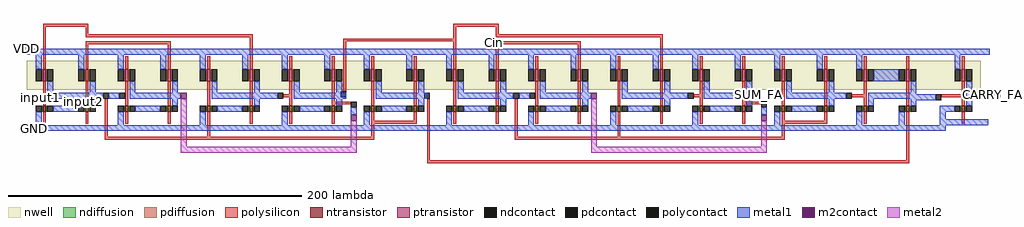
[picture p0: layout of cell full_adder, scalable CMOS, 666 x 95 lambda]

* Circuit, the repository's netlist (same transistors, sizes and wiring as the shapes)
.include 22nm_MGK.pm
.param SUPPLY = 1

vDD VDD GND 'SUPPLY'

va input1 0 pulse 0 SUPPLY 0ns 100ps 100ps 5ns 20ns

vb input2 0 pulse 0 SUPPLY 0ns 100ps 100ps 10ns 20ns

vc Cin 0 pulse 0 SUPPLY 0ns 100ps 100ps 15ns 20ns

.option scale = 0.01u

M1000 CARRY_FA or_0/inverter_0/input VDD w_556_43# pmos w=8 l=2
+  ad=40 pd=26 as=880 ps=572
M1001 CARRY_FA or_0/inverter_0/input GND Gnd nmos w=4 l=2
+  ad=20 pd=18 as=260 ps=234
M1002 or_0/inverter_0/input or_0/input2 or_0/a_3_n6# w_556_43# pmos w=8 l=2
+  ad=40 pd=26 as=80 ps=52
M1003 or_0/a_3_n6# or_0/input1 VDD w_556_43# pmos w=8 l=2
+  ad=0 pd=0 as=0 ps=0
M1004 or_0/inverter_0/input or_0/input2 GND Gnd nmos w=4 l=2
+  ad=40 pd=36 as=0 ps=0
M1005 or_0/inverter_0/input or_0/input1 GND Gnd nmos w=4 l=2
+  ad=0 pd=0 as=0 ps=0
M1006 half_adder_0/nand_0/out input1 VDD w_556_43# pmos w=8 l=2
+  ad=80 pd=52 as=0 ps=0
M1007 half_adder_0/nand_0/out half_adder_0/nand_2/input2 VDD w_556_43# pmos w=8 l=2
+  ad=0 pd=0 as=0 ps=0
M1008 half_adder_0/nand_0/out input1 half_adder_0/nand_0/a_3_n27# Gnd nmos w=4 l=2
+  ad=20 pd=18 as=40 ps=36
M1009 half_adder_0/nand_0/a_3_n27# half_adder_0/nand_2/input2 GND Gnd nmos w=4 l=2
+  ad=0 pd=0 as=0 ps=0
M1010 half_adder_1/input1 half_adder_0/nand_1/input2 VDD w_556_43# pmos w=8 l=2
+  ad=80 pd=52 as=0 ps=0
M1011 half_adder_1/input1 half_adder_0/nand_0/out VDD w_556_43# pmos w=8 l=2
+  ad=0 pd=0 as=0 ps=0
M1012 half_adder_1/input1 half_adder_0/nand_1/input2 half_adder_0/nand_1/a_3_n27# Gnd nmos w=4 l=2
+  ad=20 pd=18 as=40 ps=36
M1013 half_adder_0/nand_1/a_3_n27# half_adder_0/nand_0/out GND Gnd nmos w=4 l=2
+  ad=0 pd=0 as=0 ps=0
M1014 or_0/input2 half_adder_0/nand_2/input2 VDD w_556_43# pmos w=8 l=2
+  ad=80 pd=52 as=0 ps=0
M1015 or_0/input2 half_adder_0/nand_2/input2 VDD w_556_43# pmos w=8 l=2
+  ad=0 pd=0 as=0 ps=0
M1016 or_0/input2 half_adder_0/nand_2/input2 half_adder_0/nand_2/a_3_n27# Gnd nmos w=4 l=2
+  ad=20 pd=18 as=40 ps=36
M1017 half_adder_0/nand_2/a_3_n27# half_adder_0/nand_2/input2 GND Gnd nmos w=4 l=2
+  ad=0 pd=0 as=0 ps=0
M1018 half_adder_0/nand_2/input2 input2 VDD w_556_43# pmos w=8 l=2
+  ad=80 pd=52 as=0 ps=0
M1019 half_adder_0/a_59_n27# half_adder_0/nand_2/input2 GND Gnd nmos w=4 l=2
+  ad=40 pd=36 as=0 ps=0
M1020 half_adder_0/nand_2/input2 input1 VDD w_556_43# pmos w=8 l=2
+  ad=0 pd=0 as=0 ps=0
M1021 half_adder_0/nand_1/input2 input2 half_adder_0/a_59_n27# Gnd nmos w=4 l=2
+  ad=20 pd=18 as=0 ps=0
M1022 half_adder_0/nand_2/input2 input2 half_adder_0/a_3_n27# Gnd nmos w=4 l=2
+  ad=20 pd=18 as=40 ps=36
M1023 half_adder_0/a_3_n27# input1 GND Gnd nmos w=4 l=2
+  ad=0 pd=0 as=0 ps=0
M1024 half_adder_0/nand_1/input2 half_adder_0/nand_2/input2 VDD w_556_43# pmos w=8 l=2
+  ad=80 pd=52 as=0 ps=0
M1025 half_adder_0/nand_1/input2 input2 VDD w_556_43# pmos w=8 l=2
+  ad=0 pd=0 as=0 ps=0
M1026 half_adder_1/nand_0/out half_adder_1/input1 VDD w_556_43# pmos w=8 l=2
+  ad=80 pd=52 as=0 ps=0
M1027 half_adder_1/nand_0/out half_adder_1/nand_2/input2 VDD w_556_43# pmos w=8 l=2
+  ad=0 pd=0 as=0 ps=0
M1028 half_adder_1/nand_0/out half_adder_1/input1 half_adder_1/nand_0/a_3_n27# Gnd nmos w=4 l=2
+  ad=20 pd=18 as=40 ps=36
M1029 half_adder_1/nand_0/a_3_n27# half_adder_1/nand_2/input2 GND Gnd nmos w=4 l=2
+  ad=0 pd=0 as=0 ps=0
M1030 SUM_FA half_adder_1/nand_1/input2 VDD w_556_43# pmos w=8 l=2
+  ad=80 pd=52 as=0 ps=0
M1031 SUM_FA half_adder_1/nand_0/out VDD w_556_43# pmos w=8 l=2
+  ad=0 pd=0 as=0 ps=0
M1032 SUM_FA half_adder_1/nand_1/input2 half_adder_1/nand_1/a_3_n27# Gnd nmos w=4 l=2
+  ad=20 pd=18 as=40 ps=36
M1033 half_adder_1/nand_1/a_3_n27# half_adder_1/nand_0/out GND Gnd nmos w=4 l=2
+  ad=0 pd=0 as=0 ps=0
M1034 or_0/input1 half_adder_1/nand_2/input2 VDD w_556_43# pmos w=8 l=2
+  ad=80 pd=52 as=0 ps=0
M1035 or_0/input1 half_adder_1/nand_2/input2 VDD w_556_43# pmos w=8 l=2
+  ad=0 pd=0 as=0 ps=0
M1036 or_0/input1 half_adder_1/nand_2/input2 half_adder_1/nand_2/a_3_n27# Gnd nmos w=4 l=2
+  ad=20 pd=18 as=40 ps=36
M1037 half_adder_1/nand_2/a_3_n27# half_adder_1/nand_2/input2 GND Gnd nmos w=4 l=2
+  ad=0 pd=0 as=0 ps=0
M1038 half_adder_1/nand_2/input2 Cin VDD w_556_43# pmos w=8 l=2
+  ad=80 pd=52 as=0 ps=0
M1039 half_adder_1/a_59_n27# half_adder_1/nand_2/input2 GND Gnd nmos w=4 l=2
+  ad=40 pd=36 as=0 ps=0
M1040 half_adder_1/nand_2/input2 half_adder_1/input1 VDD w_556_43# pmos w=8 l=2
+  ad=0 pd=0 as=0 ps=0
M1041 half_adder_1/nand_1/input2 Cin half_adder_1/a_59_n27# Gnd nmos w=4 l=2
+  ad=20 pd=18 as=0 ps=0
M1042 half_adder_1/nand_2/input2 Cin half_adder_1/a_3_n27# Gnd nmos w=4 l=2
+  ad=20 pd=18 as=40 ps=36
M1043 half_adder_1/a_3_n27# half_adder_1/input1 GND Gnd nmos w=4 l=2
+  ad=0 pd=0 as=0 ps=0
M1044 half_adder_1/nand_1/input2 half_adder_1/nand_2/input2 VDD w_556_43# pmos w=8 l=2
+  ad=80 pd=52 as=0 ps=0
M1045 half_adder_1/nand_1/input2 Cin VDD w_556_43# pmos w=8 l=2
+  ad=0 pd=0 as=0 ps=0
.tran 0.1ns 100ns
.control
run

plot v(CARRY_FA)+8 v(SUM_FA)+6 v(input1)+4 v(input2)+2 v(Cin) 

.endc

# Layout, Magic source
magic
tech scmos
<< nwell >>
rect 276 43 287 63
rect 556 43 566 63
<< polysilicon >>
rect 218 76 295 78
rect 218 42 220 76
rect 320 74 322 76
rect 9 37 15 39
rect 500 39 503 41
rect 565 38 574 40
rect 39 34 43 36
rect 275 -5 277 37
rect 602 -5 604 20
rect 275 -7 604 -5
<< metal1 >>
rect 0 69 3 72
rect 553 37 561 41
rect 662 38 666 42
rect 6 16 8 18
rect 6 15 9 16
rect 280 15 289 19
rect 556 15 572 19
<< polycontact >>
rect 216 38 220 42
rect 273 37 277 41
rect 496 38 500 42
rect 561 37 565 41
use or  or_0
transform 1 0 572 0 1 55
box -12 -40 92 16
use half_adder  half_adder_0
transform 1 0 12 0 1 55
box -12 -55 268 33
use half_adder  half_adder_1
transform 1 0 292 0 1 55
box -12 -55 268 33
<< labels >>
rlabel metal1 0 71 3 72 3 VDD
rlabel metal1 6 15 8 18 1 GND
rlabel polysilicon 9 37 13 39 1 input1
rlabel polysilicon 39 34 42 36 1 input2
rlabel polysilicon 320 74 322 76 1 Cin
rlabel polysilicon 500 39 503 41 1 SUM_FA
rlabel metal1 664 38 666 42 7 CARRY_FA
<< end >>

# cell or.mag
magic
tech scmos
<< nwell >>
rect -10 -12 65 8
<< polysilicon >>
rect 1 2 3 11
rect 30 2 32 11
rect 1 -23 3 -6
rect 30 -23 32 -6
rect 54 -17 70 -15
rect 1 -35 3 -27
rect 30 -35 32 -27
<< ndiffusion >>
rect 0 -27 1 -23
rect 3 -27 4 -23
rect 29 -27 30 -23
rect 32 -27 33 -23
<< pdiffusion >>
rect 0 -6 1 2
rect 3 -6 4 2
rect 29 -6 30 2
rect 32 -6 33 2
<< metal1 >>
rect -12 12 65 16
rect -4 2 0 12
rect 8 -6 25 2
rect 33 -14 37 -6
rect 4 -15 37 -14
rect 4 -18 50 -15
rect 4 -23 8 -18
rect 33 -19 50 -18
rect 71 -17 92 -13
rect 33 -23 37 -19
rect -4 -36 0 -27
rect 25 -36 29 -27
rect 53 -36 57 -33
rect -4 -40 57 -36
<< ntransistor >>
rect 1 -27 3 -23
rect 30 -27 32 -23
<< ptransistor >>
rect 1 -6 3 2
rect 30 -6 32 2
<< polycontact >>
rect 50 -19 54 -15
<< ndcontact >>
rect -4 -27 0 -23
rect 4 -27 8 -23
rect 25 -27 29 -23
rect 33 -27 37 -23
<< pdcontact >>
rect -4 -6 0 2
rect 4 -6 8 2
rect 25 -6 29 2
rect 33 -6 37 2
use inverter  inverter_0
transform 1 0 67 0 1 0
box -14 -36 20 16
<< labels >>
rlabel polysilicon 2 -13 2 -13 1 input1
rlabel metal1 13 -38 13 -38 1 gnd
rlabel polysilicon 31 -13 31 -13 1 input2
rlabel metal1 2 13 2 13 5 vdd
rlabel metal1 90 -15 90 -15 7 out
<< end >>

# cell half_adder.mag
magic
tech scmos
<< nwell >>
rect -10 -12 106 8
rect 152 -12 163 8
rect 208 -12 219 8
<< polysilicon >>
rect 1 31 32 33
rect 1 2 3 31
rect 30 26 32 31
rect 30 24 144 26
rect 30 19 88 21
rect 30 2 32 19
rect 57 2 59 11
rect 86 2 88 19
rect 142 9 144 24
rect 1 -23 3 -6
rect 30 -23 32 -6
rect 1 -35 3 -27
rect 30 -35 32 -27
rect 43 -44 45 -18
rect 57 -23 59 -6
rect 86 -23 88 -6
rect 165 -17 171 -15
rect 198 -22 211 -20
rect 57 -35 59 -27
rect 86 -35 88 -27
rect 113 -44 115 -34
rect 225 -35 256 -33
rect 225 -44 227 -35
rect 43 -46 227 -44
<< ndiffusion >>
rect 0 -27 1 -23
rect 3 -27 4 -23
rect 29 -27 30 -23
rect 32 -27 33 -23
rect 56 -27 57 -23
rect 59 -27 60 -23
rect 85 -27 86 -23
rect 88 -27 89 -23
<< pdiffusion >>
rect 0 -6 1 2
rect 3 -6 4 2
rect 29 -6 30 2
rect 32 -6 33 2
rect 56 -6 57 2
rect 59 -6 60 2
rect 85 -6 86 2
rect 88 -6 89 2
<< metal1 >>
rect -12 12 100 16
rect -4 2 0 12
rect 25 2 29 12
rect 52 2 56 12
rect 81 2 85 12
rect 4 -14 8 -6
rect 33 -14 37 -6
rect 60 -14 64 -6
rect 89 -14 93 -6
rect 4 -18 42 -14
rect 46 -18 53 -14
rect 60 -18 95 -14
rect 149 -18 161 -14
rect 205 -18 208 -14
rect 261 -18 263 -14
rect 33 -23 37 -18
rect 89 -23 93 -18
rect 8 -27 25 -23
rect 64 -27 81 -23
rect -4 -36 0 -27
rect 52 -36 56 -27
rect 211 -29 215 -24
rect -4 -40 113 -36
rect 153 -40 174 -36
rect 207 -40 228 -36
<< metal2 >>
rect 95 -51 99 -18
rect 211 -51 215 -33
rect 95 -55 215 -51
<< ntransistor >>
rect 1 -27 3 -23
rect 30 -27 32 -23
rect 57 -27 59 -23
rect 86 -27 88 -23
<< ptransistor >>
rect 1 -6 3 2
rect 30 -6 32 2
rect 57 -6 59 2
rect 86 -6 88 2
<< polycontact >>
rect 42 -18 46 -14
rect 53 -18 57 -14
rect 161 -18 165 -14
rect 211 -24 215 -20
<< ndcontact >>
rect -4 -27 0 -23
rect 4 -27 8 -23
rect 25 -27 29 -23
rect 33 -27 37 -23
rect 52 -27 56 -23
rect 60 -27 64 -23
rect 81 -27 85 -23
rect 89 -27 93 -23
<< pdcontact >>
rect -4 -6 0 2
rect 4 -6 8 2
rect 25 -6 29 2
rect 33 -6 37 2
rect 52 -6 56 2
rect 60 -6 64 2
rect 81 -6 85 2
rect 89 -6 93 2
<< m2contact >>
rect 95 -18 99 -14
rect 211 -33 215 -29
use nand  nand_2
transform 1 0 224 0 1 0
box -12 -40 44 16
use nand  nand_1
transform 1 0 168 0 1 0
box -12 -40 44 16
use nand  nand_0
transform 1 0 112 0 1 0
box -12 -40 44 16
<< labels >>
rlabel metal1 2 13 2 13 5 vdd
rlabel polysilicon 31 -13 31 -13 1 input2
rlabel metal1 13 -38 13 -38 1 gnd
rlabel polysilicon 2 -13 2 -13 1 input1
rlabel metal1 205 -18 208 -14 1 SUM_HA
rlabel metal1 261 -18 263 -14 1 CARRY_HA
<< end >>

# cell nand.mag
magic
tech scmos
<< nwell >>
rect -10 -12 43 8
<< polysilicon >>
rect 1 2 3 11
rect 30 2 32 11
rect 1 -23 3 -6
rect 30 -23 32 -6
rect 1 -35 3 -27
rect 30 -35 32 -27
<< ndiffusion >>
rect 0 -27 1 -23
rect 3 -27 4 -23
rect 29 -27 30 -23
rect 32 -27 33 -23
<< pdiffusion >>
rect 0 -6 1 2
rect 3 -6 4 2
rect 29 -6 30 2
rect 32 -6 33 2
<< metal1 >>
rect -12 12 44 16
rect -4 2 0 12
rect 25 2 29 12
rect 4 -14 8 -6
rect 33 -14 37 -6
rect 4 -18 37 -14
rect 33 -23 37 -18
rect 8 -27 25 -23
rect -4 -36 0 -27
rect -4 -40 44 -36
<< ntransistor >>
rect 1 -27 3 -23
rect 30 -27 32 -23
<< ptransistor >>
rect 1 -6 3 2
rect 30 -6 32 2
<< ndcontact >>
rect -4 -27 0 -23
rect 4 -27 8 -23
rect 25 -27 29 -23
rect 33 -27 37 -23
<< pdcontact >>
rect -4 -6 0 2
rect 4 -6 8 2
rect 25 -6 29 2
rect 33 -6 37 2
<< labels >>
rlabel metal1 2 13 2 13 5 vdd
rlabel metal1 36 -15 36 -15 1 out
rlabel polysilicon 31 -13 31 -13 1 input2
rlabel metal1 13 -38 13 -38 1 gnd
rlabel polysilicon 2 -13 2 -13 1 input1
<< end >>

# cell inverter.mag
magic
tech scmos
<< nwell >>
rect -10 -12 14 8
<< polysilicon >>
rect 1 2 3 11
rect 1 -23 3 -6
rect 1 -35 3 -27
<< ndiffusion >>
rect 0 -27 1 -23
rect 3 -27 4 -23
<< pdiffusion >>
rect 0 -6 1 2
rect 3 -6 4 2
<< metal1 >>
rect -12 12 20 16
rect -4 2 0 12
rect 4 -23 8 -6
rect -14 -27 -4 -23
rect -14 -32 -10 -27
rect -14 -36 19 -32
<< ntransistor >>
rect 1 -27 3 -23
<< ptransistor >>
rect 1 -6 3 2
<< ndcontact >>
rect -4 -27 0 -23
rect 4 -27 8 -23
<< pdcontact >>
rect -4 -6 0 2
rect 4 -6 8 2
<< labels >>
rlabel metal1 2 13 2 13 5 vdd
rlabel metal1 -4 -35 -4 -35 1 gnd
rlabel polysilicon 2 -14 2 -14 1 input
rlabel metal1 7 -15 7 -15 1 out
<< end >>
